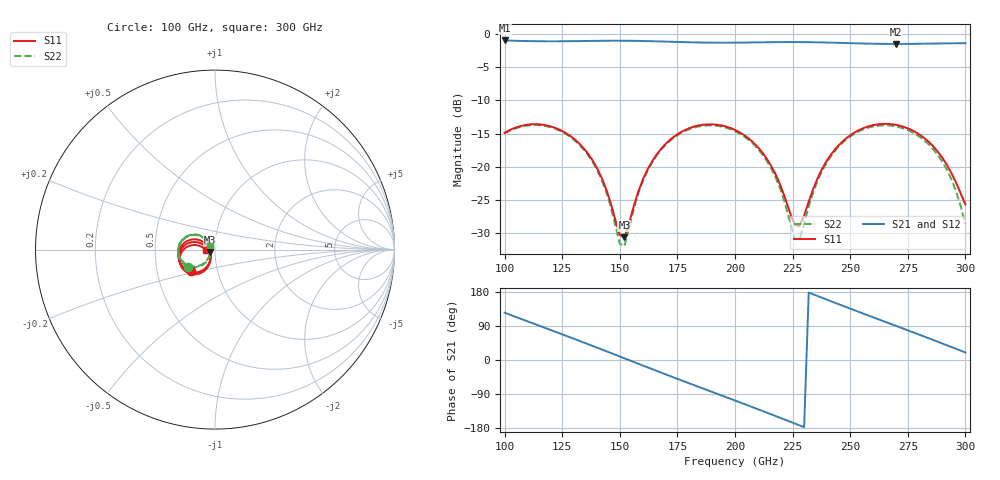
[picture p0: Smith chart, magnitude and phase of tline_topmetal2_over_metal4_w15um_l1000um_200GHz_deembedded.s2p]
! Created with skrf 2.0.1 (http://scikit-rf.org).
# GHz S DB R 50.0
!freq dBS11 angS11 dBS21 angS21 dBS12 angS12 dBS22 angS22
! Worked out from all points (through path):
!   101 points, 100 GHz to 300 GHz, reference 50 ohm
!   highest |S21| = -1.00 dB at 100 GHz (marker M1); lowest = -1.5 dB at 270 GHz (marker M2)
!   group delay of S21, straight-line fit = 6.47 ps
!   lowest |S11| = -30.6 dB at 152 GHz (marker M3), VSWR 1.06, Z = 47.4 - j1.33 ohm
!   |S11| at or under -10 dB: start of sweep to end of sweep
!   |S22| runs from -31.9 to -13.7 dB; largest |S21 - S12| = 1e-13
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100  -14.89 -138.4  -1.00 124.9  -1.00 124.9  -15.00 -147.1
116  -13.65 -170.3  -1.12 88.2  -1.12 88.2  -13.78 179.2
134  -17.09 156.2  -1.09 46.9  -1.09 46.9  -17.27 143.2
142  -21.56 147.2  -1.05 28.2  -1.05 28.2  -21.85 132.4
150  -30.25 179.0  -1.04 9.2  -1.04 9.2  -31.58 163.8
152  -30.60 -151.8  -1.04 4.5  -1.04 4.5  -31.94 -161.9
160  -21.93 -113.3  -1.08 -14.5  -1.08 -14.5  -22.16 -124.5
168  -17.27 -121.5  -1.15 -33.4  -1.15 -33.4  -17.42 -134.8
184  -13.80 -150.3  -1.30 -70.4  -1.30 -70.4  -13.95 -166.1
200  -14.45 179.8  -1.33 -106.9  -1.33 -106.9  -14.64 161.5
216  -20.05 156.7  -1.26 -144.1  -1.26 -144.1  -20.44 134.6
226  -28.77 -171.0  -1.24 -167.8  -1.24 -167.8  -30.83 166.9
228  -28.91 -147.4  -1.24 -172.5  -1.24 -172.5  -30.91 -162.7
234  -23.27 -113.1  -1.27 173.2  -1.27 173.2  -23.77 -127.8
240  -19.01 -113.2  -1.31 159.0  -1.31 159.0  -19.26 -130.9
248  -15.79 -124.0  -1.39 140.2  -1.39 140.2  -15.98 -144.0
258  -13.91 -141.3  -1.48 117.2  -1.48 117.2  -14.11 -163.6
268  -13.60 -159.4  -1.52 94.3  -1.52 94.3  -13.82 176.2
270  -13.70 -163.0  -1.52 89.7  -1.52 89.7  -13.94 172.2
288  -17.71 169.1  -1.46 48.2  -1.46 48.2  -18.21 138.3
294  -20.99 166.5  -1.43 34.1  -1.43 34.1  -21.94 131.7
300  -25.67 -177.4  -1.42 19.8  -1.42 19.8  -28.65 144.2
